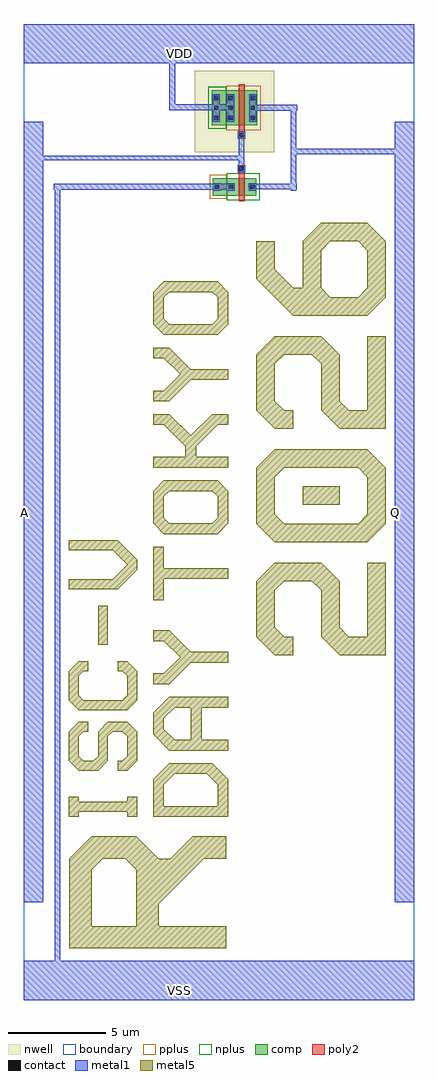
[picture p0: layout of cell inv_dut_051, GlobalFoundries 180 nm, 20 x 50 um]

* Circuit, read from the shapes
.subckt inv_dut_051 A Q VDD VSS
XM1 Q A VSS VSS nfet_03v3 w=0.9u l=0.3u
XM2 Q A VDD VDD pfet_03v3 w=1.8u l=0.3u
.ends

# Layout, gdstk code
from math import pi, radians
import gdstk
lib = gdstk.Library(unit=1e-6, precision=1e-09)
def R(c, l, rs):  # rectangles x0, y0, x1, y1
    for r in rs: c.add(gdstk.rectangle(r[:2], r[2:], *l))
def A(c, l, x, y, w, h, nx, ny, dx, dy):  # array of equal rectangles
    R(c, l, [(x+i*dx, y+j*dy, x+i*dx+w, y+j*dy+h) for i in range(nx) for j in range(ny)])
def P(c, l, *ps):  # polygons
    for p in ps: c.add(gdstk.Polygon(p, *l))
boundary = (0, 0)
nwell = (21, 0)
comp = (22, 0)
poly2 = (30, 0)
pplus = (31, 0)
nplus = (32, 0)
contact = (33, 0)
metal1 = (34, 0)
metal5 = (81, 0)

nfet = lib.new_cell('nfet')
R(nfet, comp, [(-0.42,0,1.81,0.9)])
P(nfet, poly2, [(0.19,-0.3),(0.19,1.2),(0.16,1.2),(0.16,1.56),(0.52,1.56),(0.52,1.2),(0.49,1.2),(0.49,-0.3)])
R(nfet, pplus, [(1.1,-0.17,1.98,1.07)])
R(nfet, nplus, [(-0.59,-0.24,1.1,1.14)])
R(nfet, contact, [(-0.32,0.34,-0.1,0.56), (0.78,0.34,1,0.56), (1.49,0.34,1.71,0.56), (0.23,1.27,0.45,1.49)])
R(nfet, metal1, [(-0.4,0.26,-0.02,0.64), (0.7,0.26,1.08,0.64), (1.41,0.26,1.79,0.64), (0.15,1.19,0.53,1.57)])

pfet = lib.new_cell('pfet')
R(pfet, nwell, [(-1.32,-1.37,2.73,2.79)])
R(pfet, comp, [(-0.46,0,1.87,1.8)])
P(pfet, poly2, [(0.15,-0.68),(0.15,-0.3),(0.19,-0.3),(0.19,2.1),(0.49,2.1),(0.49,-0.3),(0.53,-0.3),(0.53,-0.68)])
R(pfet, pplus, [(-0.63,-0.24,1.14,2.04)])
R(pfet, nplus, [(1.14,-0.17,2.04,1.97)])
A(pfet, contact, -0.34, 0.28, 0.22, 0.22, 1, 3, 0, 0.51)
A(pfet, contact, 0.8, 0.28, 0.22, 0.22, 1, 3, 0, 0.51)
A(pfet, contact, 1.53, 0.28, 0.22, 0.22, 1, 3, 0, 0.51)
R(pfet, contact, [(0.23,-0.6,0.45,-0.38)])
R(pfet, metal1, [(0.15,-0.68,0.53,-0.3), (-0.42,0.2,-0.04,1.6), (0.72,0.2,1.1,1.6), (1.45,0.2,1.83,1.6)])

text = lib.new_cell('TEXT')

text_12 = lib.new_cell('TEXT$12')
P(text_12, metal5, [(0,0),(0,3.85),(1.925,3.85),(2.475,3.3),(0.55,3.3),(0.55,0.55),(1.65,0.55),(2.2,1.1),(2.2,2.75),(1.65,3.3),(2.475,3.3),(2.75,3.025),(2.75,0.825),(1.925,0)],
  [(3.4,0),(3.4,3.025),(4.225,3.85),(5.325,3.85),(5.875,3.3),(4.5,3.3),(3.95,2.75),(3.95,1.925),(5.6,1.925),(5.6,2.75),(5.05,3.3),(5.875,3.3),(6.15,3.025),(6.15,0),(5.6,0),(5.6,1.375),(3.95,1.375),(3.95,0)],
  [(7.9,0),(7.9,1.925),(6.8,3.025),(6.8,3.85),(7.35,3.85),(7.35,3.3),(8.175,2.475),(9,3.3),(9,3.85),(9.55,3.85),(9.55,3.025),(8.45,1.925),(8.45,0)])

text_14 = lib.new_cell('TEXT$14')
R(text_14, metal5, [(9.55,1.5,11.55,2)])
P(text_14, metal5, [(0.75,0),(0.75,0.5),(1,0.5),(1,3),(0.75,3),(0.75,3.5),(1.75,3.5),(1.75,3),(1.5,3),(1.5,0.5),(1.75,0.5),(1.75,0)],
  [(3.6,0),(3.1,0.5),(3.1,1),(3.6,1),(3.6,0.75),(3.85,0.5),(4.85,0.5),(5.1,0.75),(5.1,1.25),(4.85,1.5),(3.6,1.5),(3.1,2),(3.1,3),(3.6,3.5),(5.1,3.5),(5.6,3),(5.6,2.5),(5.1,2.5),(5.1,2.75),(4.85,3),(3.85,3),(3.6,2.75),(3.6,2.25),(3.85,2),(5.1,2),(5.6,1.5),(5.6,0.5),(5.1,0)],
  [(6.7,0),(6.2,0.5),(6.2,3),(6.7,3.5),(8.2,3.5),(8.7,3),(8.7,2.5),(8.2,2.5),(8.2,2.75),(7.95,3),(6.95,3),(6.7,2.75),(6.7,0.75),(6.95,0.5),(7.95,0.5),(8.2,0.75),(8.2,1),(8.7,1),(8.7,0.5),(8.2,0)],
  [(13.4,0),(12.4,1),(12.4,3.5),(12.9,3.5),(12.9,1.25),(13.65,0.5),(14.4,1.25),(14.4,3.5),(14.9,3.5),(14.9,1),(13.9,0)])

text_2 = lib.new_cell('TEXT$2')
P(text_2, metal5, [(0,0),(0,8.05),(4.6,8.05),(5.75,6.9),(1.15,6.9),(1.15,4.6),(4.025,4.6),(4.6,5.175),(4.6,6.325),(4.025,6.9),(5.75,6.9),(5.75,4.6),(4.6,3.45),(4.6,2.875),(5.75,1.725),(5.75,0),(4.6,0),(4.6,1.15),(2.3,3.45),(1.15,3.45),(1.15,0)])

text_15 = lib.new_cell('TEXT$15')
P(text_15, metal5, [(1.1,0),(1.1,3.3),(0,3.3),(0,3.85),(2.75,3.85),(2.75,3.3),(1.65,3.3),(1.65,0)],
  [(3.95,0),(3.4,0.55),(3.4,3.3),(3.95,3.85),(5.6,3.85),(6.15,3.3),(6.15,1.925),(5.6,1.925),(5.6,3.025),(5.325,3.3),(4.225,3.3),(3.95,3.025),(3.95,0.825),(4.225,0.55),(5.325,0.55),(5.6,0.825),(5.6,1.925),(6.15,1.925),(6.15,0.55),(5.6,0)],
  [(6.8,0),(6.8,3.85),(7.35,3.85),(7.35,2.2),(7.9,2.2),(9,3.3),(9,3.85),(9.55,3.85),(9.55,3.025),(8.45,1.925),(9.55,0.825),(9.55,0),(9,0),(9,0.55),(7.9,1.65),(7.35,1.65),(7.35,0)],
  [(11.3,0),(11.3,1.925),(10.2,3.025),(10.2,3.85),(10.75,3.85),(10.75,3.3),(11.575,2.475),(12.4,3.3),(12.4,3.85),(12.95,3.85),(12.95,3.025),(11.85,1.925),(11.85,0)],
  [(14.15,0),(13.6,0.55),(13.6,3.3),(14.15,3.85),(15.8,3.85),(16.35,3.3),(16.35,1.925),(15.8,1.925),(15.8,3.025),(15.525,3.3),(14.425,3.3),(14.15,3.025),(14.15,0.825),(14.425,0.55),(15.525,0.55),(15.8,0.825),(15.8,1.925),(16.35,1.925),(16.35,0.55),(15.8,0)])

text_10 = lib.new_cell('TEXT$10')
R(text_10, metal5, [(7.7,2.375,8.65,4.275)])
P(text_10, metal5, [(0,0),(0,2.375),(0.95,3.325),(3.325,3.325),(3.8,3.8),(3.8,5.225),(3.325,5.7),(1.425,5.7),(0.95,5.225),(0.95,4.75),(0,4.75),(0,5.7),(0.95,6.65),(3.8,6.65),(4.75,5.7),(4.75,3.325),(3.8,2.375),(1.425,2.375),(0.95,1.9),(0.95,0.95),(4.75,0.95),(4.75,0)],
  [(6.75,0),(5.8,0.95),(5.8,5.7),(6.75,6.65),(9.6,6.65),(10.55,5.7),(7.225,5.7),(6.75,5.225),(6.75,1.425),(7.225,0.95),(9.125,0.95),(9.6,1.425),(9.6,5.225),(9.125,5.7),(10.55,5.7),(10.55,0.95),(9.6,0)],
  [(11.6,0),(11.6,2.375),(12.55,3.325),(14.925,3.325),(15.4,3.8),(15.4,5.225),(14.925,5.7),(13.025,5.7),(12.55,5.225),(12.55,4.75),(11.6,4.75),(11.6,5.7),(12.55,6.65),(15.4,6.65),(16.35,5.7),(16.35,3.325),(15.4,2.375),(13.025,2.375),(12.55,1.9),(12.55,0.95),(16.35,0.95),(16.35,0)],
  [(18.35,0),(17.4,0.95),(17.4,4.75),(19.3,6.65),(21.2,6.65),(21.2,5.7),(19.775,5.7),(18.825,4.75),(18.825,4.275),(21.2,4.275),(22.15,3.325),(18.825,3.325),(18.35,2.85),(18.35,1.425),(18.825,0.95),(20.725,0.95),(21.2,1.425),(21.2,2.85),(20.725,3.325),(22.15,3.325),(22.15,0.95),(21.2,0)])

inv_dut_051 = lib.new_cell('inv_dut_051')
R(inv_dut_051, boundary, [(-10,-25,10,25)])
R(inv_dut_051, metal1, [(-10,-25,10,-23), (-10,-20,-9,20), (9,-20,10,20), (-10,23,10,25)])
inv_dut_051.add(gdstk.FlexPath([(0.71,16.655),(-8.465,16.655)], 0.3, ends="flush", simple_path=True, layer=34, datatype=0))  # metal1
inv_dut_051.add(gdstk.FlexPath([(1.19,18.125),(-9.385,18.125)], 0.23, ends="flush", simple_path=True, layer=34, datatype=0))  # metal1
inv_dut_051.add(gdstk.FlexPath([(0.685,20.73),(-2.54,20.73)], 0.3, ends="flush", simple_path=True, layer=34, datatype=0))  # metal1
inv_dut_051.add(gdstk.FlexPath([(-2.39,20.64),(-2.39,23.335)], 0.3, ends="flush", simple_path=True, layer=34, datatype=0))  # metal1
inv_dut_051.add(gdstk.FlexPath([(1.65,20.71),(4,20.71)], 0.3, ends="flush", simple_path=True, layer=34, datatype=0))  # metal1
inv_dut_051.add(gdstk.FlexPath([(1.595,16.675),(3.985,16.675)], 0.3, ends="flush", simple_path=True, layer=34, datatype=0))  # metal1
inv_dut_051.add(gdstk.FlexPath([(3.82,20.775),(3.82,16.465)], 0.3, ends="flush", simple_path=True, layer=34, datatype=0))  # metal1
inv_dut_051.add(gdstk.FlexPath([(-8.275,16.8),(-8.275,-23.73)], 0.3, ends="flush", simple_path=True, layer=34, datatype=0))  # metal1
inv_dut_051.add(gdstk.FlexPath([(3.755,18.465),(9.46,18.465)], 0.3, ends="flush", simple_path=True, layer=34, datatype=0))  # metal1
inv_dut_051.add(gdstk.FlexPath([(1.155,19.26),(1.155,17.455),(1.155,17.455)], 0.3, ends="flush", simple_path=True, layer=34, datatype=0))  # metal1
inv_dut_051.add(gdstk.Reference(nfet, (1.5,16.21), rotation=pi, x_reflection=True))
inv_dut_051.add(gdstk.Reference(pfet, (1.5,19.805), rotation=pi, x_reflection=True))
inv_dut_051.add(gdstk.Reference(text, (-4.13,5.465)))
inv_dut_051.add(gdstk.Reference(text, (-4.005,4.765)))
inv_dut_051.add(gdstk.Reference(text, (-0.32,2.67)))
inv_dut_051.add(gdstk.Reference(text_12, (0.48,-15.62), rotation=pi/2))
inv_dut_051.add(gdstk.Reference(text_14, (-4.195,-16.35), rotation=pi/2))
inv_dut_051.add(gdstk.Reference(text_2, (0.37,-22.36), rotation=pi/2))
inv_dut_051.add(gdstk.Reference(text_15, (0.48,-4.53), rotation=pi/2))
inv_dut_051.add(gdstk.Reference(text_10, (8.555,-7.34), rotation=pi/2))
inv_dut_051.add(gdstk.Label('VDD', (-2,23.5), layer=34, texttype=10))
inv_dut_051.add(gdstk.Label('VSS', (-2,-24.5), layer=34, texttype=10))
inv_dut_051.add(gdstk.Label('A', (-9.97,0), layer=34, texttype=10))
inv_dut_051.add(gdstk.Label('Q', (9.03,0), layer=34, texttype=10))

lib.write_gds('inv_dut_051.gds')
